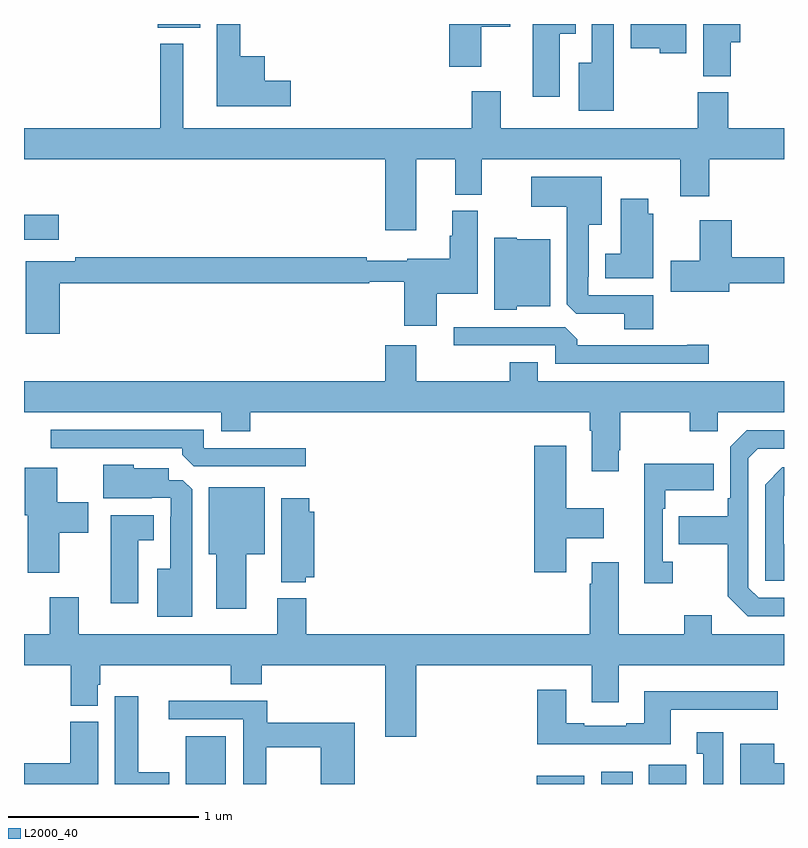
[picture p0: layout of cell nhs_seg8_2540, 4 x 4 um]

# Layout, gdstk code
import gdstk
lib = gdstk.Library(unit=1e-6, precision=1e-09)
def R(c, l, rs):  # rectangles x0, y0, x1, y1
    for r in rs: c.add(gdstk.rectangle(r[:2], r[2:], *l))
def P(c, l, *ps):  # polygons
    for p in ps: c.add(gdstk.Polygon(p, *l))
L2000_40 = (2000, 40)

nhs_seg8_2540 = lib.new_cell('nhs_seg8_2540')
R(nhs_seg8_2540, L2000_40, [(271.85,1091.9,272.062,1092.151), (273.698,1091.9,273.949,1091.944), (274.037,1091.9,274.204,1091.965), (274.289,1091.9,274.485,1092.001), (271,1094.765,271.183,1094.895), (271.704,1095.881,271.927,1095.9)])
P(nhs_seg8_2540, L2000_40, [(273.82,1095.848),(273.904,1095.848),(273.904,1095.9),(273.677,1095.9),(273.677,1095.516),(273.82,1095.516)],
  [(274.105,1095.9),(273.989,1095.9),(273.989,1095.697),(273.92,1095.697),(273.92,1095.443),(274.105,1095.443)],
  [(272.404,1095.602),(272.266,1095.602),(272.266,1095.73),(272.137,1095.73),(272.137,1095.9),(272.015,1095.9),(272.015,1095.467),(272.404,1095.467)],
  [(274.721,1095.803),(274.769,1095.803),(274.769,1095.9),(274.574,1095.9),(274.574,1095.625),(274.721,1095.625)],
  [(274.486,1095.9),(274.193,1095.9),(274.193,1095.773),(274.347,1095.773),(274.347,1095.746),(274.486,1095.746)],
  [(273.406,1095.886),(273.559,1095.886),(273.559,1095.9),(273.239,1095.9),(273.239,1095.675),(273.406,1095.675)],
  [(273.064,1095.188),(273.269,1095.188),(273.269,1095.001),(273.409,1095.001),(273.409,1095.188),(274.454,1095.188),(274.454,1094.994),(274.607,1094.994),(274.607,1095.188),(275,1095.188),(275,1095.352),(274.706,1095.352),(274.706,1095.54),(274.546,1095.54),(274.546,1095.352),(273.508,1095.352),(273.508,1095.547),(273.356,1095.547),(273.356,1095.352),(271.837,1095.352),(271.837,1095.796),(271.716,1095.796),(271.716,1095.352),(271,1095.352),(271,1095.188),(272.9,1095.188),(272.9,1094.814),(273.064,1094.814)],
  [(274.313,1094.472),(273.969,1094.472),(273.969,1094.569),(273.973,1094.569),(273.973,1094.843),(274.042,1094.843),(274.042,1095.097),(273.669,1095.097),(273.669,1094.939),(273.857,1094.939),(273.857,1094.425),(273.906,1094.376),(274.16,1094.376),(274.16,1094.293),(274.313,1094.293)],
  [(274.312,1094.901),(274.285,1094.901),(274.285,1094.98),(274.142,1094.98),(274.142,1094.692),(274.058,1094.692),(274.058,1094.561),(274.312,1094.561)],
  [(271.187,1094.536),(272.818,1094.536),(272.818,1094.544),(273.002,1094.544),(273.002,1094.313),(273.172,1094.313),(273.172,1094.48),(273.388,1094.48),(273.388,1094.916),(273.254,1094.916),(273.254,1094.786),(273.242,1094.786),(273.242,1094.665),(273.018,1094.665),(273.018,1094.653),(272.804,1094.653),(272.804,1094.672),(271.27,1094.672),(271.27,1094.652),(271.009,1094.652),(271.009,1094.271),(271.187,1094.271)],
  [(274.711,1094.536),(275,1094.536),(275,1094.672),(274.724,1094.672),(274.724,1094.866),(274.556,1094.866),(274.556,1094.655),(274.404,1094.655),(274.404,1094.492),(274.711,1094.492)],
  [(273.594,1094.414),(273.769,1094.414),(273.769,1094.767),(273.594,1094.767),(273.594,1094.776),(273.476,1094.776),(273.476,1094.396),(273.594,1094.396)],
  [(274.603,1094.213),(274.49,1094.213),(274.49,1094.208),(273.911,1094.208),(273.911,1094.242),(273.849,1094.304),(273.261,1094.304),(273.261,1094.208),(273.795,1094.208),(273.795,1094.112),(274.603,1094.112)],
  [(274.129,1093.657),(274.137,1093.657),(274.137,1093.856),(274.504,1093.856),(274.504,1093.757),(274.65,1093.757),(274.65,1093.856),(275,1093.856),(275,1094.02),(273.703,1094.02),(273.703,1094.119),(273.556,1094.119),(273.556,1094.02),(273.064,1094.02),(273.064,1094.209),(272.9,1094.209),(272.9,1094.02),(271,1094.02),(271,1093.856),(272.039,1093.856),(272.039,1093.757),(272.192,1093.757),(272.192,1093.856),(273.977,1093.856),(273.977,1093.76),(273.989,1093.76),(273.989,1093.545),(274.129,1093.545)],
  [(272.482,1093.668),(271.947,1093.668),(271.947,1093.764),(271.14,1093.764),(271.14,1093.668),(271.832,1093.668),(271.832,1093.634),(271.893,1093.572),(272.482,1093.572)],
  [(275,1092.879),(274.866,1092.879),(274.812,1092.933),(274.812,1093.614),(274.863,1093.665),(275,1093.665),(275,1093.761),(274.803,1093.761),(274.716,1093.674),(274.716,1093.405),(274.704,1093.405),(274.704,1093.309),(274.447,1093.309),(274.447,1093.162),(274.704,1093.162),(274.704,1092.889),(274.809,1092.783),(275,1092.783)],
  [(273.853,1093.193),(274.051,1093.193),(274.051,1093.351),(273.853,1093.351),(273.853,1093.681),(273.686,1093.681),(273.686,1093.014),(273.853,1093.014)],
  [(274.414,1093.07),(274.362,1093.07),(274.362,1093.349),(274.375,1093.349),(274.375,1093.445),(274.631,1093.445),(274.631,1093.585),(274.265,1093.585),(274.265,1092.957),(274.414,1092.957)],
  [(271.885,1093.451),(271.836,1093.5),(271.762,1093.5),(271.762,1093.561),(271.578,1093.561),(271.578,1093.579),(271.418,1093.579),(271.418,1093.403),(271.673,1093.403),(271.673,1093.407),(271.773,1093.407),(271.773,1093.307),(271.769,1093.307),(271.769,1093.033),(271.7,1093.033),(271.7,1092.779),(271.885,1092.779)],
  [(275,1093.162),(274.998,1093.162),(274.998,1093.416),(275,1093.418),(275,1093.566),(274.992,1093.566),(274.902,1093.476),(274.902,1092.969),(275,1092.969)],
  [(271.186,1093.222),(271.339,1093.222),(271.339,1093.384),(271.174,1093.384),(271.174,1093.564),(271.004,1093.564),(271.004,1093.315),(271.019,1093.315),(271.019,1093.011),(271.186,1093.011)],
  [(272.17,1093.109),(272.266,1093.109),(272.266,1093.462),(271.973,1093.462),(271.973,1093.109),(272.012,1093.109),(272.012,1092.822),(272.17,1092.822)],
  [(272.484,1092.989),(272.527,1092.989),(272.527,1093.333),(272.501,1093.333),(272.501,1093.405),(272.354,1093.405),(272.354,1092.962),(272.484,1092.962)],
  [(271.6,1093.184),(271.684,1093.184),(271.684,1093.315),(271.457,1093.315),(271.457,1092.852),(271.6,1092.852)],
  [(273.064,1092.524),(273.989,1092.524),(273.989,1092.33),(274.129,1092.33),(274.129,1092.524),(275,1092.524),(275,1092.688),(274.621,1092.688),(274.621,1092.787),(274.474,1092.787),(274.474,1092.688),(274.129,1092.688),(274.129,1093.066),(273.989,1093.066),(273.989,1092.953),(273.977,1092.953),(273.977,1092.688),(272.486,1092.688),(272.486,1092.877),(272.333,1092.877),(272.333,1092.688),(271.288,1092.688),(271.288,1092.883),(271.136,1092.883),(271.136,1092.688),(271,1092.688),(271,1092.524),(271.247,1092.524),(271.247,1092.313),(271.387,1092.313),(271.387,1092.423),(271.4,1092.423),(271.4,1092.524),(272.087,1092.524),(272.087,1092.425),(272.252,1092.425),(272.252,1092.524),(272.9,1092.524),(272.9,1092.15),(273.064,1092.15)],
  [(274.405,1092.291),(274.966,1092.291),(274.966,1092.388),(274.265,1092.388),(274.265,1092.22),(274.169,1092.22),(274.169,1092.207),(273.949,1092.207),(273.949,1092.22),(273.853,1092.22),(273.853,1092.397),(273.701,1092.397),(273.701,1092.11),(274.405,1092.11)],
  [(271.765,1091.962),(271.6,1091.962),(271.6,1092.361),(271.478,1092.361),(271.478,1091.9),(271.765,1091.9)],
  [(272.274,1092.094),(272.563,1092.094),(272.563,1091.9),(272.741,1091.9),(272.741,1092.223),(272.279,1092.223),(272.279,1092.338),(271.761,1092.338),(271.761,1092.24),(272.153,1092.24),(272.153,1091.9),(272.274,1091.9)],
  [(271.39,1092.228),(271.244,1092.228),(271.244,1092.008),(271,1092.008),(271,1091.9),(271.39,1091.9)],
  [(274.681,1092.172),(274.541,1092.172),(274.541,1092.059),(274.574,1092.059),(274.574,1091.9),(274.681,1091.9)],
  [(275,1092.008),(274.948,1092.008),(274.948,1092.112),(274.769,1092.112),(274.769,1091.9),(275,1091.9)])

lib.write_gds('nhs_seg8_2540.gds')
